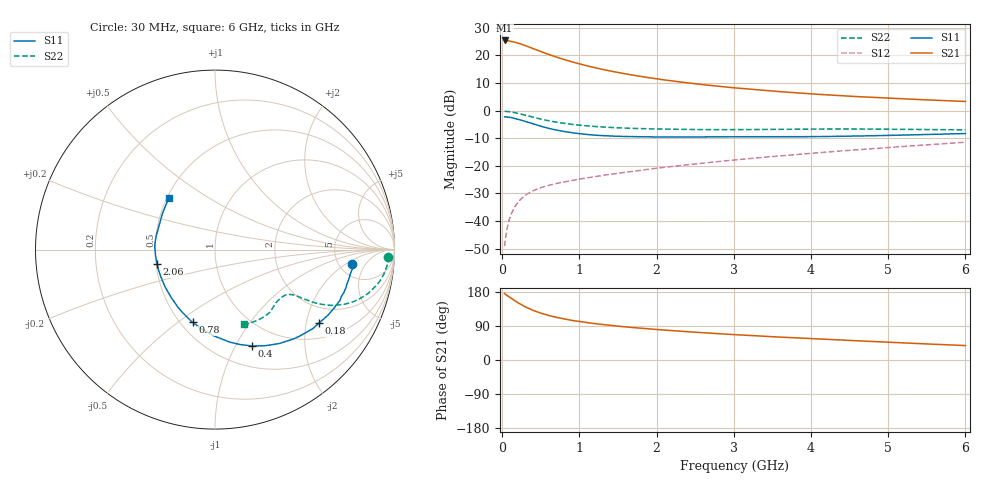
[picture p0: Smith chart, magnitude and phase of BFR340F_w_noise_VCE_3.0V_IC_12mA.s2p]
! Infineon Technologies  Discrete & RF Semiconductors
! BFR340F
! VCE =  3.0 V,  IC =  12 mA
! Common Emitter S-Parameters:  Nov 2015
# GHz  S  MA  R  50
!  f  S11  S21  S12  S22
! GHz  MAG  ANG  MAG  ANG  MAG  ANG  MAG  ANG
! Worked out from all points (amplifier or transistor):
!   206 points, 30 MHz to 6 GHz, reference 50 ohm
!   highest |S21| = 25.4 dB at 30 MHz (marker M1)
!   |S21| within 3 dB of that: start of sweep to 403.7 MHz
!   unconditionally stable (mu >= 1): 1.635 GHz to 4.905 GHz
!   at 200 MHz: K = 0.23, MSG = 28.9 dB, |S12| = -33.4 dB
!   at 1.56 GHz: K = 0.99, MSG = 18.0 dB, |S12| = -22.5 dB
!   at 6 GHz: K = 0.94, MSG = 7.4 dB, |S12| = -11.5 dB
!   lowest NFmin = 1.95 dB at 1.9 GHz
!   S11 on the Smith chart (normalised r, x): 30 MHz: 6.59, -2.64; 180 MHz: 1.44, -2.37; 400 MHz: 0.73, -1.17; 780 MHz: 0.57, -0.57; 2.06 GHz: 0.51, -0.09; 6 GHz: 0.51, +0.34
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0.03  0.7694 -6.1  18.61 175.6  0.0035 86.8  0.9672 -2.3
0.05  0.7656 -10.3  18.43 171.9  0.0058 85.3  0.965 -4.1
0.09  0.7564 -18.6  18.24 166.5  0.0106 80.6  0.9537 -7.6
0.15  0.7286 -29.9  17.49 157.9  0.0169 76.1  0.9237 -12.2
0.18  0.7093 -35.3  17.02 154.1  0.0197 73.6  0.9042 -14.2
0.24  0.6738 -45.8  16.06 146.7  0.0249 69.6  0.8637 -17.8
0.3  0.6354 -55.3  14.99 140.1  0.0293 66.4  0.8213 -20.8
0.4  0.5746 -69.1  13.24 130.9  0.0353 62.4  0.7549 -24.1
0.5  0.5205 -81.2  11.7 123.6  0.0402 60.0  0.6981 -26.3
0.6  0.4778 -91.6  10.4 117.5  0.0442 58.7  0.6522 -27.6
0.7  0.4441 -100.8  9.309 112.5  0.0478 58.2  0.6154 -28.3
0.78  0.4229 -107.2  8.575 109.2  0.0504 58.1  0.5923 -28.6
0.9  0.3974 -116.3  7.642 104.6  0.0543 58.4  0.5626 -29.1
1.04  0.3758 -125.1  6.777 100.3  0.0587 59.1  0.5372 -29.4
1.2  0.3586 -134.3  5.973 95.9  0.0638 60.1  0.5146 -29.8
1.48  0.3425 -147.1  4.952 89.7  0.0727 62.0  0.4888 -30.8
2.02  0.3323 -164.8  3.723 80.2  0.0909 65.2  0.4637 -33.6
2.06  0.3321 -165.9  3.658 79.7  0.0923 65.4  0.4626 -33.9
3.1  0.336 173.0  2.516 66.0  0.131 68.9  0.4523 -42.1
4.1  0.3381 157.8  1.966 55.5  0.1726 69.9  0.4642 -49.7
5.1  0.3574 144.0  1.655 46.0  0.2192 69.4  0.459 -59.0
6  0.3838 131.8  1.462 38.1  0.2671 67.9  0.448 -68.5
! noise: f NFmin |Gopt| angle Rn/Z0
1.9  1.95  0.24  -12  0.57
